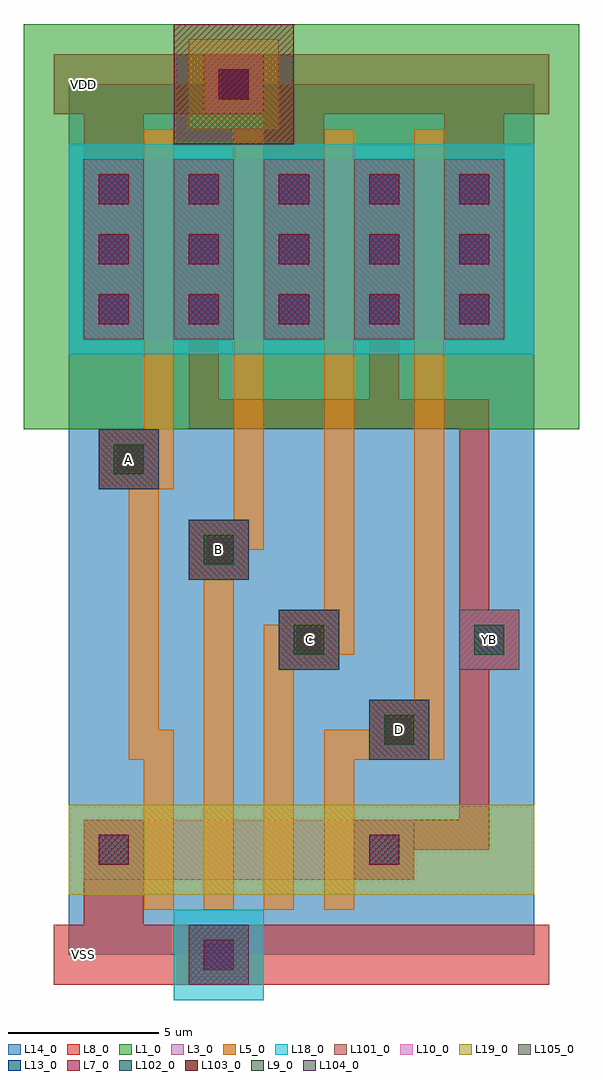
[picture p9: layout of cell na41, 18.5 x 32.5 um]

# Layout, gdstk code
import gdstk
lib = gdstk.Library(unit=1e-6, precision=1e-09)
def R(c, l, rs):  # rectangles x0, y0, x1, y1
    for r in rs: c.add(gdstk.rectangle(r[:2], r[2:], *l))
L1_0 = (1, 0)
L3_0 = (3, 0)
L5_0 = (5, 0)
L7_0 = (7, 0)
L8_0 = (8, 0)
L9_0 = (9, 0)
L10_0 = (10, 0)
L13_0 = (13, 0)
L14_0 = (14, 0)
L18_0 = (18, 0)
L19_0 = (19, 0)
L101_0 = (101, 0)
L102_0 = (102, 0)
L103_0 = (103, 0)
L104_0 = (104, 0)
L105_0 = (105, 0)

pcont = lib.new_cell('pcont')
R(pcont, L5_0, [(-1,-1,1,1)])
R(pcont, L7_0, [(-0.5,-0.5,0.5,0.5)])
R(pcont, L8_0, [(-1,-1,1,1)])
R(pcont, L102_0, [(-1,-1,1,1)])
pcont.add(gdstk.Label('pcont', (0,0), layer=13, texttype=0))

via = lib.new_cell('Via')
R(via, L8_0, [(-1,-1,1,1)])
R(via, L9_0, [(-0.5,-0.5,0.5,0.5)])
R(via, L10_0, [(-1,-1,1,1)])
R(via, L13_0, [(-0.5,-0.5,0.5,0.5)])
R(via, L105_0, [(-1,-1,1,1)])
via.add(gdstk.Label('via', (0,0), layer=13, texttype=0))

dcont = lib.new_cell('dcont')
R(dcont, L3_0, [(-1,-1,1,1)])
R(dcont, L7_0, [(-0.5,-0.5,0.5,0.5)])
R(dcont, L8_0, [(-1,-1,1,1)])
R(dcont, L13_0, [(-0.5,-0.5,0.5,0.5)])
R(dcont, L101_0, [(-1,-1,1,1)])
dcont.add(gdstk.Label('dcont', (0,0), layer=13, texttype=0))

psubcont = lib.new_cell('psubcont')
R(psubcont, L18_0, [(-1.5,-1.5,1.5,1.5)])
R(psubcont, L104_0, [(-1,-1,1,1)])
psubcont.add(gdstk.Reference(dcont, (0,0)))
psubcont.add(gdstk.Label('PScon', (0,0), layer=13, texttype=0))

nsubcont = lib.new_cell('nsubcont')
R(nsubcont, L1_0, [(-2,-2,2,2)])
R(nsubcont, L19_0, [(-1.5,-1.5,1.5,1.5)])
R(nsubcont, L103_0, [(-2,-2,2,2)])
nsubcont.add(gdstk.Reference(dcont, (0,0)))
nsubcont.add(gdstk.Label('NScont', (0,0), layer=13, texttype=0))

na41 = lib.new_cell('na41')
R(na41, L1_0, [(-1.5,17.5,17,31)])
R(na41, L3_0, [(0.5,2.5,11.5,4.5), (0.5,20.5,14.5,26.5)])
R(na41, L8_0, [(-0.5,-1,16,1), (-0.5,-1,16,1), (10,6.5,12,8.5), (10,6.5,12,8.5), (7,9.5,9,11.5), (7,9.5,9,11.5), (13,9.5,15,11.5), (13,9.5,15,11.5), (4,12.5,6,14.5), (4,12.5,6,14.5), (1,15.5,3,17.5), (1,15.5,3,17.5), (-0.5,28,16,30), (-0.5,28,16,30)])
R(na41, L10_0, [(10,6.5,12,8.5), (10,6.5,12,8.5), (7,9.5,9,11.5), (7,9.5,9,11.5), (13,9.5,15,11.5), (13,9.5,15,11.5), (4,12.5,6,14.5), (4,12.5,6,14.5), (1,15.5,3,17.5), (1,15.5,3,17.5)])
R(na41, L14_0, [(0,0,15.5,29)])
R(na41, L18_0, [(0,20,15.5,27)])
R(na41, L19_0, [(0,2,15.5,5)])
R(na41, L105_0, [(10,6.5,12,8.5), (7,9.5,9,11.5), (13,9.5,15,11.5), (4,12.5,6,14.5), (1,15.5,3,17.5)])
na41.add(gdstk.FlexPath([(9,2),(9,7),(12,7),(12,27)], 1, ends="extended", simple_path=True, layer=5, datatype=0))  # L5_0
na41.add(gdstk.FlexPath([(9,27),(9,10.5),(7,10.5),(7,2)], 1, ends="extended", simple_path=True, layer=5, datatype=0))  # L5_0
na41.add(gdstk.FlexPath([(6,27),(6,14),(5.5,14),(5.5,13),(5,13),(5,2)], 1, ends="extended", simple_path=True, layer=5, datatype=0))  # L5_0
na41.add(gdstk.FlexPath([(3,27),(3,16),(2.5,16),(2.5,7),(3,7),(3,2)], 1, ends="extended", simple_path=True, layer=5, datatype=0))  # L5_0
na41.add(gdstk.FlexPath([(13.5,22.3),(13.5,25.5)], 1.4, ends="extended", simple_path=True, layer=8, datatype=0))  # L8_0
na41.add(gdstk.FlexPath([(13.5,21.5),(13.5,28.5)], 2, ends="extended", simple_path=True, layer=8, datatype=0))  # L8_0
na41.add(gdstk.FlexPath([(10.5,22.3),(10.5,25.5)], 1.4, ends="extended", simple_path=True, layer=8, datatype=0))  # L8_0
na41.add(gdstk.FlexPath([(10.5,20.5),(10.5,18)], 1, ends="extended", simple_path=True, layer=8, datatype=0))  # L8_0
na41.add(gdstk.FlexPath([(4.5,20.5),(4.5,18),(13.5,18),(13.5,4),(10.6,4)], 1, ends="extended", simple_path=True, layer=8, datatype=0))  # L8_0
na41.add(gdstk.FlexPath([(7.5,21.5),(7.5,28.5)], 2, ends="extended", simple_path=True, layer=8, datatype=0))  # L8_0
na41.add(gdstk.FlexPath([(4.5,22.3),(4.5,25.5)], 1.4, ends="extended", simple_path=True, layer=8, datatype=0))  # L8_0
na41.add(gdstk.FlexPath([(1.5,1),(1.5,3.5)], 2, ends="extended", simple_path=True, layer=8, datatype=0))  # L8_0
na41.add(gdstk.FlexPath([(1.5,21.5),(1.5,28.5)], 2, ends="extended", simple_path=True, layer=8, datatype=0))  # L8_0
na41.add(gdstk.Reference(pcont, (8,10.5)))
na41.add(gdstk.Reference(pcont, (2,16.5)))
na41.add(gdstk.Reference(via, (8,10.5)))
na41.add(gdstk.Reference(dcont, (4.5,25.5)))
na41.add(gdstk.Reference(dcont, (1.5,23.5)))
na41.add(gdstk.Reference(pcont, (5,13.5)))
na41.add(gdstk.Reference(via, (14,10.5)))
na41.add(gdstk.Reference(dcont, (7.5,23.5)))
na41.add(gdstk.Reference(dcont, (4.5,21.5)))
na41.add(gdstk.Reference(via, (2,16.5)))
na41.add(gdstk.Reference(dcont, (13.5,23.5)))
na41.add(gdstk.Reference(dcont, (10.5,23.5)))
na41.add(gdstk.Reference(psubcont, (5,0)))
na41.add(gdstk.Reference(dcont, (1.5,3.5)))
na41.add(gdstk.Reference(dcont, (13.5,21.5)))
na41.add(gdstk.Reference(dcont, (4.5,23.5)))
na41.add(gdstk.Reference(via, (11,7.5)))
na41.add(gdstk.Reference(dcont, (7.5,21.5)))
na41.add(gdstk.Reference(via, (5,13.5)))
na41.add(gdstk.Reference(dcont, (1.5,21.5)))
na41.add(gdstk.Reference(nsubcont, (5.5,29)))
na41.add(gdstk.Reference(pcont, (11,7.5)))
na41.add(gdstk.Reference(dcont, (10.5,3.5)))
na41.add(gdstk.Reference(dcont, (1.5,25.5)))
na41.add(gdstk.Reference(dcont, (13.5,25.5)))
na41.add(gdstk.Reference(dcont, (10.5,25.5)))
na41.add(gdstk.Reference(dcont, (10.5,21.5)))
na41.add(gdstk.Reference(dcont, (7.5,25.5)))
na41.add(gdstk.Label('VSS', (0.5,0), layer=8, texttype=0))
na41.add(gdstk.Label('VDD', (0.5,29), layer=8, texttype=0))
na41.add(gdstk.Label('YB', (14,10.5), layer=10, texttype=0))
na41.add(gdstk.Label('D', (11,7.5), layer=10, texttype=0))
na41.add(gdstk.Label('C', (8,10.5), layer=10, texttype=0))
na41.add(gdstk.Label('B', (5,13.5), layer=10, texttype=0))
na41.add(gdstk.Label('A', (2,16.5), layer=10, texttype=0))

lib.write_gds('na41.gds')
